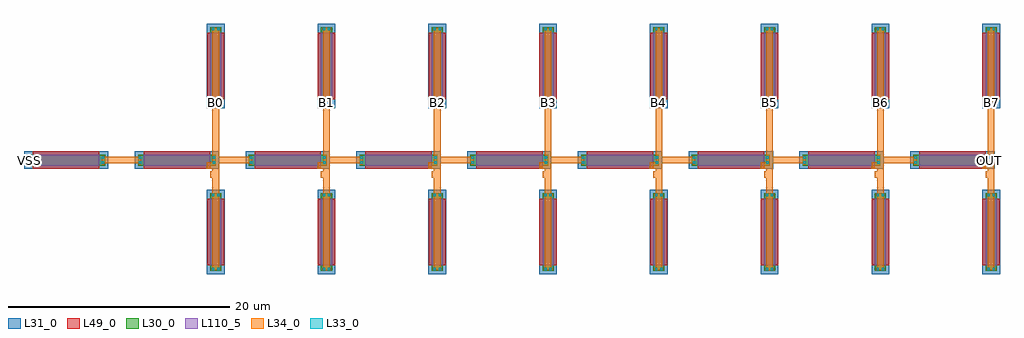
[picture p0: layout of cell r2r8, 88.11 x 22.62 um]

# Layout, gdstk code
import gdstk
lib = gdstk.Library(unit=1e-6, precision=1e-09)
def R(c, l, rs):  # rectangles x0, y0, x1, y1
    for r in rs: c.add(gdstk.rectangle(r[:2], r[2:], *l))
def A(c, l, x, y, w, h, nx, ny, dx, dy):  # array of equal rectangles
    R(c, l, [(x+i*dx, y+j*dy, x+i*dx+w, y+j*dy+h) for i in range(nx) for j in range(ny)])
L30_0 = (30, 0)
L31_0 = (31, 0)
L33_0 = (33, 0)
L34_0 = (34, 0)
L49_0 = (49, 0)
L110_5 = (110, 5)

r2r8 = lib.new_cell('r2r8')
A(r2r8, L30_0, 18, 0.49, 1, 7.02, 8, 2, 10, 15)
A(r2r8, L30_0, 1.49, 10, 7.02, 1, 9, 1, 10, 0)
A(r2r8, L31_0, 17.7, 0.19, 1.6, 7.62, 8, 2, 10, 15)
A(r2r8, L31_0, 1.19, 9.7, 7.62, 1.6, 9, 1, 10, 0)
R(r2r8, L33_0, [(18.155,0.56,18.375,0.78), (18.625,0.56,18.845,0.78), (28.155,0.56,28.375,0.78), (28.625,0.56,28.845,0.78), (38.155,0.56,38.375,0.78), (38.625,0.56,38.845,0.78), (48.155,0.56,48.375,0.78), (48.625,0.56,48.845,0.78), (58.155,0.56,58.375,0.78), (58.625,0.56,58.845,0.78), (68.155,0.56,68.375,0.78), (68.625,0.56,68.845,0.78), (78.155,0.56,78.375,0.78), (78.625,0.56,78.845,0.78), (88.155,0.56,88.375,0.78), (88.625,0.56,88.845,0.78), (18.155,7.22,18.375,7.44), (18.625,7.22,18.845,7.44), (28.155,7.22,28.375,7.44), (28.625,7.22,28.845,7.44), (38.155,7.22,38.375,7.44), (38.625,7.22,38.845,7.44), (48.155,7.22,48.375,7.44), (48.625,7.22,48.845,7.44), (58.155,7.22,58.375,7.44), (58.625,7.22,58.845,7.44), (68.155,7.22,68.375,7.44), (68.625,7.22,68.845,7.44), (78.155,7.22,78.375,7.44), (78.625,7.22,78.845,7.44), (88.155,7.22,88.375,7.44), (88.625,7.22,88.845,7.44), (1.56,10.155,1.78,10.375), (8.22,10.155,8.44,10.375), (11.56,10.155,11.78,10.375), (18.22,10.155,18.44,10.375), (21.56,10.155,21.78,10.375), (28.22,10.155,28.44,10.375), (31.56,10.155,31.78,10.375), (38.22,10.155,38.44,10.375), (41.56,10.155,41.78,10.375), (48.22,10.155,48.44,10.375), (51.56,10.155,51.78,10.375), (58.22,10.155,58.44,10.375), (61.56,10.155,61.78,10.375), (68.22,10.155,68.44,10.375), (71.56,10.155,71.78,10.375), (78.22,10.155,78.44,10.375), (81.56,10.155,81.78,10.375), (88.22,10.155,88.44,10.375), (1.56,10.625,1.78,10.845), (8.22,10.625,8.44,10.845), (11.56,10.625,11.78,10.845), (18.22,10.625,18.44,10.845), (21.56,10.625,21.78,10.845), (28.22,10.625,28.44,10.845), (31.56,10.625,31.78,10.845), (38.22,10.625,38.44,10.845), (41.56,10.625,41.78,10.845), (48.22,10.625,48.44,10.845), (51.56,10.625,51.78,10.845), (58.22,10.625,58.44,10.845), (61.56,10.625,61.78,10.845), (68.22,10.625,68.44,10.845), (71.56,10.625,71.78,10.845), (78.22,10.625,78.44,10.845), (81.56,10.625,81.78,10.845), (88.22,10.625,88.44,10.845), (18.155,15.56,18.375,15.78), (18.625,15.56,18.845,15.78), (28.155,15.56,28.375,15.78), (28.625,15.56,28.845,15.78), (38.155,15.56,38.375,15.78), (38.625,15.56,38.845,15.78), (48.155,15.56,48.375,15.78), (48.625,15.56,48.845,15.78), (58.155,15.56,58.375,15.78), (58.625,15.56,58.845,15.78), (68.155,15.56,68.375,15.78), (68.625,15.56,68.845,15.78), (78.155,15.56,78.375,15.78), (78.625,15.56,78.845,15.78), (88.155,15.56,88.375,15.78), (88.625,15.56,88.845,15.78), (18.155,22.22,18.375,22.44), (18.625,22.22,18.845,22.44), (28.155,22.22,28.375,22.44), (28.625,22.22,28.845,22.44), (38.155,22.22,38.375,22.44), (38.625,22.22,38.845,22.44), (48.155,22.22,48.375,22.44), (48.625,22.22,48.845,22.44), (58.155,22.22,58.375,22.44), (58.625,22.22,58.845,22.44), (68.155,22.22,68.375,22.44), (68.625,22.22,68.845,22.44), (78.155,22.22,78.375,22.44), (78.625,22.22,78.845,22.44), (88.155,22.22,88.375,22.44), (88.625,22.22,88.845,22.44)])
A(r2r8, L34_0, 18.095, 0.555, 0.81, 0.23, 8, 2, 10, 6.66)
A(r2r8, L34_0, 18.2, 0.67, 0.6, 8.83, 8, 1, 10, 0)
A(r2r8, L34_0, 18.2, 7.33, 0.6, 15, 8, 1, 10, 0)
A(r2r8, L34_0, 18, 8.9, 0.8, 0.6, 8, 1, 10, 0)
A(r2r8, L34_0, 17.7, 9.7, 0.6, 0.6, 8, 1, 10, 0)
A(r2r8, L34_0, 8.33, 10.2, 3.34, 0.6, 8, 1, 10, 0)
A(r2r8, L34_0, 18.095, 15.555, 0.81, 0.23, 8, 2, 10, 6.66)
R(r2r8, L34_0, [(1.555,10.095,1.785,10.905), (8.215,10.095,8.445,10.905), (11.555,10.095,11.785,10.905), (18.215,10.095,18.445,10.905), (21.555,10.095,21.785,10.905), (28.215,10.095,28.445,10.905), (31.555,10.095,31.785,10.905), (38.215,10.095,38.445,10.905), (41.555,10.095,41.785,10.905), (48.215,10.095,48.445,10.905), (51.555,10.095,51.785,10.905), (58.215,10.095,58.445,10.905), (61.555,10.095,61.785,10.905), (68.215,10.095,68.445,10.905), (71.555,10.095,71.785,10.905), (78.215,10.095,78.445,10.905), (81.555,10.095,81.785,10.905), (88.215,10.095,88.445,10.905)])
A(r2r8, L49_0, 17.72, 1, 1.56, 6, 8, 2, 10, 15)
A(r2r8, L49_0, 2, 9.72, 6, 1.56, 9, 1, 10, 0)
A(r2r8, L110_5, 18, 1, 1, 6, 8, 2, 10, 15)
A(r2r8, L110_5, 2, 10, 6, 1, 9, 1, 10, 0)
r2r8.add(gdstk.Label('VSS', (1.67,10.5), layer=34, texttype=10))
r2r8.add(gdstk.Label('OUT', (88.33,10.5), layer=34, texttype=10))
r2r8.add(gdstk.Label('B0', (18.5,15.67), layer=34, texttype=10))
r2r8.add(gdstk.Label('B1', (28.5,15.67), layer=34, texttype=10))
r2r8.add(gdstk.Label('B2', (38.5,15.67), layer=34, texttype=10))
r2r8.add(gdstk.Label('B3', (48.5,15.67), layer=34, texttype=10))
r2r8.add(gdstk.Label('B4', (58.5,15.67), layer=34, texttype=10))
r2r8.add(gdstk.Label('B5', (68.5,15.67), layer=34, texttype=10))
r2r8.add(gdstk.Label('B6', (78.5,15.67), layer=34, texttype=10))
r2r8.add(gdstk.Label('B7', (88.5,15.67), layer=34, texttype=10))

lib.write_gds('r2r8.gds')
